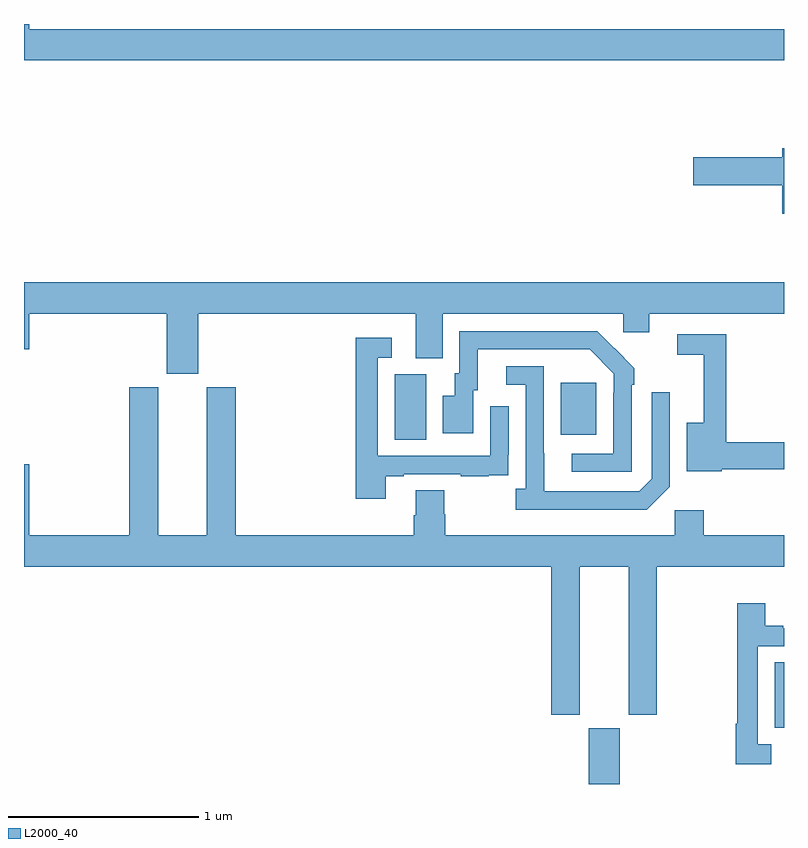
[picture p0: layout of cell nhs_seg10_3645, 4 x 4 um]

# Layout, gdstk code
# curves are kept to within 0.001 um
import gdstk
lib = gdstk.Library(unit=1e-6, precision=1e-09)
def R(c, l, rs):  # rectangles x0, y0, x1, y1
    for r in rs: c.add(gdstk.rectangle(r[:2], r[2:], *l))
def P(c, l, *ps):  # polygons
    for p in ps: c.add(gdstk.Polygon(p, *l))
L2000_40 = (2000, 40)

nhs_seg10_3645 = lib.new_cell('nhs_seg10_3645')
R(nhs_seg10_3645, L2000_40, [(311.972,1304.5,312.136,1304.793), (312.95,1304.797,313,1305.14), (310.952,1306.312,311.116,1306.656), (311.825,1306.337,312.013,1306.612)])
P(nhs_seg10_3645, L2000_40, [(313,1308.472),(309.028,1308.472),(309.028,1308.5),(309,1308.5),(309,1308.308),(313,1308.308)],
  [(313,1307.845),(312.992,1307.845),(312.992,1307.798),(312.522,1307.798),(312.522,1307.651),(312.992,1307.651),(312.992,1307.502),(313,1307.502)],
  [(309.916,1306.976),(311.063,1306.976),(311.063,1306.741),(311.203,1306.741),(311.203,1306.976),(312.153,1306.976),(312.153,1306.878),(312.292,1306.878),(312.292,1306.976),(313,1306.976),(313,1307.14),(309,1307.14),(309,1306.788),(309.028,1306.788),(309.028,1306.976),(309.752,1306.976),(309.752,1306.659),(309.916,1306.659)],
  [(312.198,1306.601),(312.213,1306.601),(312.213,1306.689),(312.016,1306.884),(311.292,1306.884),(311.292,1306.662),(311.267,1306.662),(311.267,1306.543),(311.204,1306.543),(311.204,1306.347),(311.365,1306.347),(311.365,1306.572),(311.389,1306.572),(311.389,1306.788),(311.977,1306.788),(312.105,1306.659),(312.105,1306.559),(312.102,1306.559),(312.102,1306.239),(311.883,1306.239),(311.883,1306.143),(312.198,1306.143)],
  [(312.672,1306.156),(313,1306.156),(313,1306.298),(312.695,1306.298),(312.695,1306.866),(312.438,1306.866),(312.438,1306.758),(312.578,1306.758),(312.578,1306.402),(312.488,1306.402),(312.488,1306.145),(312.672,1306.145)],
  [(310.903,1306.119),(310.999,1306.119),(310.999,1306.131),(311.299,1306.131),(311.299,1306.119),(311.447,1306.119),(311.447,1306.125),(311.549,1306.125),(311.549,1306.234),(311.55,1306.234),(311.55,1306.489),(311.454,1306.489),(311.454,1306.227),(310.863,1306.227),(310.863,1306.743),(310.936,1306.743),(310.936,1306.849),(310.747,1306.849),(310.747,1306.002),(310.903,1306.002)],
  [(312.399,1306.065),(312.399,1306.561),(312.303,1306.561),(312.303,1306.107),(312.237,1306.041),(311.737,1306.041),(311.736,1306.698),(311.538,1306.698),(311.538,1306.602),(311.64,1306.602),(311.64,1306.054),(311.589,1306.054),(311.589,1305.944),(312.278,1305.944)],
  [(311.926,1305.644),(312.182,1305.644),(312.182,1304.865),(312.33,1304.865),(312.33,1305.644),(313,1305.644),(313,1305.808),(312.578,1305.808),(312.578,1305.94),(312.426,1305.94),(312.426,1305.808),(311.216,1305.808),(311.216,1305.921),(311.211,1305.921),(311.211,1306.046),(311.063,1306.046),(311.063,1305.914),(311.051,1305.914),(311.051,1305.808),(310.115,1305.808),(310.115,1306.587),(309.962,1306.587),(309.962,1305.808),(309.706,1305.808),(309.706,1306.587),(309.554,1306.587),(309.554,1305.808),(309.028,1305.808),(309.028,1306.183),(309,1306.183),(309,1305.644),(311.774,1305.644),(311.774,1304.865),(311.926,1304.865)],
  [(312.934,1304.709),(312.861,1304.709),(312.861,1305.225),(313,1305.225),(313,1305.321),(312.997,1305.321),(312.997,1305.334),(312.901,1305.334),(312.901,1305.451),(312.753,1305.451),(312.753,1304.816),(312.745,1304.816),(312.745,1304.604),(312.934,1304.604)])

lib.write_gds('nhs_seg10_3645.gds')
